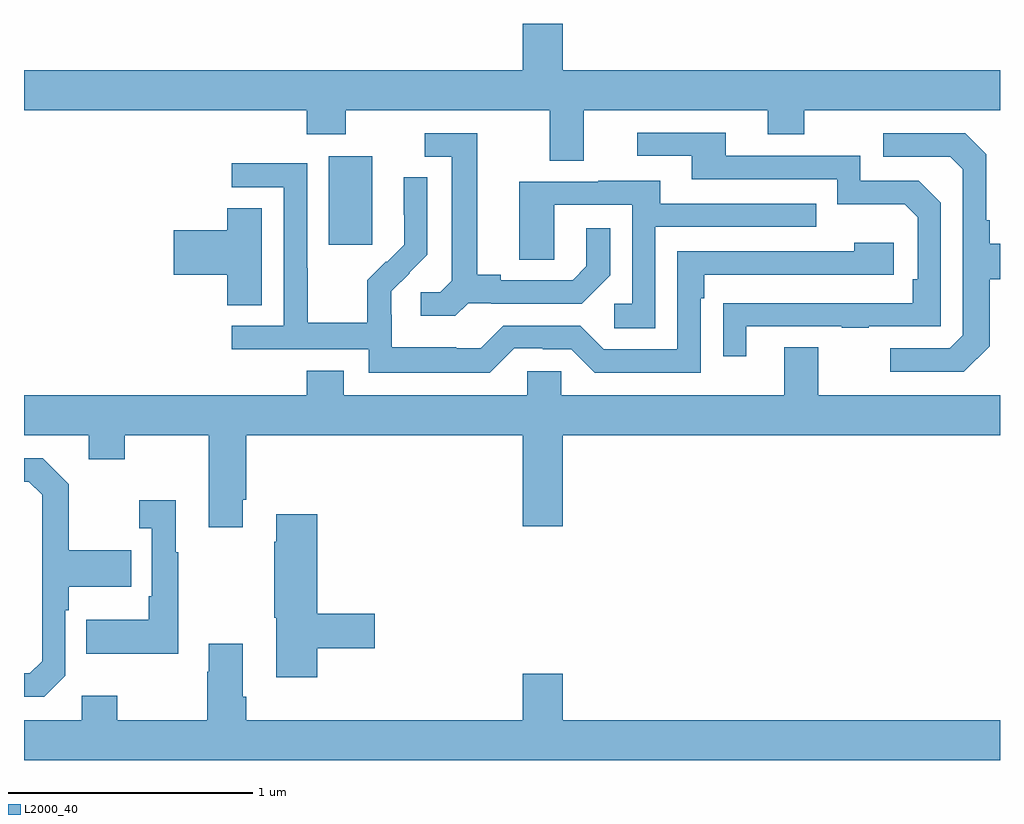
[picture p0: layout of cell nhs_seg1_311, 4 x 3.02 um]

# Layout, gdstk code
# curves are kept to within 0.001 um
import gdstk
lib = gdstk.Library(unit=1e-6, precision=1e-09)
def R(c, l, rs):  # rectangles x0, y0, x1, y1
    for r in rs: c.add(gdstk.rectangle(r[:2], r[2:], *l))
def P(c, l, *ps):  # polygons
    for p in ps: c.add(gdstk.Polygon(p, *l))
L2000_40 = (2000, 40)

nhs_seg1_311 = lib.new_cell('nhs_seg1_311')
R(nhs_seg1_311, L2000_40, [(128.249,571.161,128.428,571.522)])
P(nhs_seg1_311, L2000_40, [(129.295,571.712),(130.049,571.712),(130.049,571.613),(130.197,571.613),(130.197,571.712),(131,571.712),(131,571.876),(129.208,571.876),(129.208,572.065),(129.044,572.065),(129.044,571.876),(127,571.876),(127,571.712),(128.159,571.712),(128.159,571.613),(128.319,571.613),(128.319,571.712),(129.155,571.712),(129.155,571.504),(129.295,571.504)],
  [(129.961,570.825),(130.351,570.825),(130.351,570.82),(130.463,570.82),(130.463,570.825),(130.758,570.825),(130.758,571.332),(130.668,571.422),(130.428,571.422),(130.428,571.524),(129.877,571.524),(129.877,571.62),(129.513,571.62),(129.513,571.524),(129.737,571.524),(129.737,571.428),(130.332,571.428),(130.332,571.325),(130.609,571.325),(130.662,571.272),(130.662,571.018),(130.642,571.018),(130.642,570.921),(129.865,570.92),(129.865,570.702),(129.961,570.702)],
  [(130.957,570.745),(130.957,571.018),(131,571.018),(131,571.165),(130.957,571.165),(130.957,571.261),(130.944,571.261),(130.944,571.53),(130.857,571.617),(130.521,571.617),(130.521,571.521),(130.797,571.521),(130.848,571.47),(130.848,570.789),(130.794,570.735),(130.551,570.735),(130.551,570.639),(130.851,570.639)],
  [(128.82,570.921),(128.914,570.921),(128.914,570.918),(129.286,570.918),(129.402,571.034),(129.402,571.228),(129.305,571.228),(129.305,571.071),(129.248,571.014),(128.953,571.014),(128.953,571.037),(128.857,571.037),(128.857,571.617),(128.643,571.617),(128.643,571.521),(128.753,571.521),(128.753,571.013),(128.706,570.966),(128.625,570.966),(128.625,570.869),(128.768,570.869)],
  [(129.009,570.735),(129.125,570.735),(129.125,570.732),(129.243,570.732),(129.339,570.636),(129.774,570.636),(129.774,570.941),(129.787,570.941),(129.787,571.038),(130.564,571.038),(130.564,571.168),(130.403,571.168),(130.403,571.134),(129.678,571.134),(129.678,570.732),(129.375,570.732),(129.279,570.828),(128.964,570.828),(128.871,570.735),(128.771,570.735),(128.771,570.739),(128.508,570.739),(128.508,570.873),(128.506,570.873),(128.506,570.97),(128.652,571.118),(128.652,571.436),(128.556,571.436),(128.556,571.282),(128.558,571.282),(128.558,571.16),(128.487,571.089),(128.484,571.092),(128.407,571.015),(128.407,570.841),(128.163,570.841),(128.163,571.064),(128.16,571.064),(128.16,571.494),(127.851,571.494),(127.851,571.395),(128.064,571.395),(128.064,570.828),(127.851,570.828),(127.851,570.732),(128.412,570.732),(128.412,570.635),(128.909,570.635)],
  [(129.588,571.233),(130.247,571.233),(130.247,571.329),(129.607,571.329),(129.607,571.423),(129.353,571.423),(129.353,571.419),(129.029,571.419),(129.029,571.099),(129.174,571.099),(129.174,571.323),(129.492,571.323),(129.492,570.918),(129.42,570.918),(129.42,570.817),(129.588,570.817)],
  [(127.975,571.31),(127.832,571.31),(127.832,571.22),(127.614,571.22),(127.614,571.037),(127.832,571.037),(127.832,570.913),(127.975,570.913)],
  [(127.897,570.115),(127.91,570.115),(127.91,570.38),(129.044,570.38),(129.044,570.006),(129.208,570.006),(129.208,570.38),(131,570.38),(131,570.544),(130.255,570.544),(130.255,570.739),(130.115,570.739),(130.115,570.544),(129.201,570.544),(129.201,570.642),(129.063,570.642),(129.063,570.544),(128.311,570.544),(128.311,570.643),(128.159,570.643),(128.159,570.544),(127,570.544),(127,570.38),(127.265,570.38),(127.265,570.281),(127.413,570.281),(127.413,570.38),(127.757,570.38),(127.757,570.003),(127.897,570.003)],
  [(127.17,569.394),(127.17,569.663),(127.183,569.663),(127.183,569.759),(127.439,569.759),(127.439,569.907),(127.183,569.907),(127.183,570.179),(127.077,570.285),(127,570.285),(127,570.189),(127.02,570.189),(127.074,570.135),(127.074,569.454),(127.023,569.403),(127,569.403),(127,569.307),(127.083,569.307)],
  [(127.633,569.899),(127.621,569.899),(127.621,570.112),(127.473,570.112),(127.473,569.999),(127.524,569.999),(127.524,569.719),(127.512,569.719),(127.512,569.623),(127.255,569.623),(127.255,569.483),(127.633,569.483)],
  [(128.201,569.506),(128.437,569.506),(128.437,569.648),(128.201,569.648),(128.201,570.055),(128.033,570.055),(128.033,569.942),(128.026,569.942),(128.026,569.631),(128.033,569.631),(128.033,569.388),(128.201,569.388)],
  [(131,569.212),(129.208,569.212),(129.208,569.401),(129.044,569.401),(129.044,569.212),(127.91,569.212),(127.91,569.308),(127.897,569.308),(127.897,569.524),(127.757,569.524),(127.757,569.411),(127.75,569.411),(127.75,569.212),(127.383,569.212),(127.383,569.311),(127.236,569.311),(127.236,569.212),(127,569.212),(127,569.048),(131,569.048)])

lib.write_gds('nhs_seg1_311.gds')
